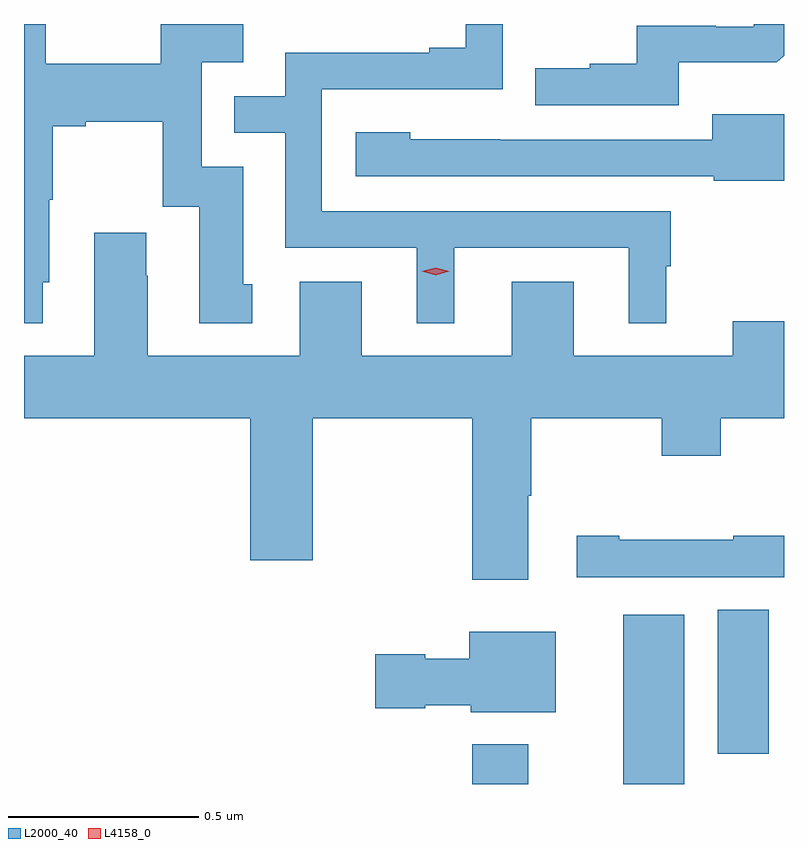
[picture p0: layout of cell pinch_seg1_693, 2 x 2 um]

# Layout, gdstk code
import gdstk
lib = gdstk.Library(unit=1e-6, precision=1e-09)
def R(c, l, rs):  # rectangles x0, y0, x1, y1
    for r in rs: c.add(gdstk.rectangle(r[:2], r[2:], *l))
def P(c, l, *ps):  # polygons
    for p in ps: c.add(gdstk.Polygon(p, *l))
L2000_40 = (2000, 40)
L4158_0 = (4158, 0)

pinch_seg1_693 = lib.new_cell('pinch_seg1_693')
R(pinch_seg1_693, L2000_40, [(681.076,566.753,681.223,566.857), (681.473,566.753,681.634,567.199), (681.722,566.832,681.856,567.212)])
P(pinch_seg1_693, L2000_40, [(681.619,568.652),(681.877,568.652),(681.896,568.67),(681.896,568.753),(681.816,568.753),(681.816,568.746),(681.716,568.746),(681.716,568.749),(681.509,568.749),(681.509,568.648),(681.385,568.648),(681.385,568.636),(681.241,568.636),(681.241,568.539),(681.619,568.539)],
  [(681.028,568.164),(681.488,568.164),(681.488,567.965),(681.586,567.965),(681.586,568.116),(681.598,568.116),(681.598,568.26),(680.679,568.26),(680.679,568.581),(681.156,568.581),(681.156,568.753),(681.058,568.753),(681.058,568.69),(680.963,568.69),(680.963,568.677),(680.583,568.677),(680.583,568.563),(680.449,568.563),(680.449,568.467),(680.583,568.467),(680.583,568.164),(680.93,568.164),(680.93,567.965),(681.028,567.965)],
  [(679.945,568.074),(679.963,568.074),(679.963,568.291),(679.971,568.291),(679.971,568.484),(680.059,568.484),(680.059,568.496),(680.261,568.496),(680.261,568.272),(680.357,568.272),(680.357,567.966),(680.497,567.966),(680.497,568.068),(680.473,568.068),(680.473,568.377),(680.364,568.377),(680.364,568.653),(680.473,568.653),(680.473,568.753),(680.256,568.753),(680.256,568.648),(679.953,568.648),(679.953,568.753),(679.896,568.753),(679.896,567.965),(679.945,567.965)],
  [(681.896,568.516),(681.707,568.516),(681.707,568.449),(681.149,568.449),(681.149,568.45),(680.913,568.45),(680.913,568.468),(680.769,568.468),(680.769,568.353),(681.711,568.353),(681.711,568.341),(681.896,568.341)],
  [(681.223,567.512),(681.231,567.512),(681.231,567.716),(681.574,567.716),(681.574,567.617),(681.729,567.617),(681.729,567.716),(681.896,567.716),(681.896,567.971),(681.761,567.971),(681.761,567.88),(681.343,567.88),(681.343,568.075),(681.179,568.075),(681.179,567.88),(680.785,567.88),(680.785,568.075),(680.621,568.075),(680.621,567.88),(680.221,567.88),(680.221,568.091),(680.218,568.091),(680.218,568.204),(680.081,568.204),(680.081,567.88),(679.896,567.88),(679.896,567.716),(680.492,567.716),(680.492,567.342),(680.656,567.342),(680.656,567.716),(681.076,567.716),(681.076,567.291),(681.223,567.291)],
  [(681.896,567.406),(681.763,567.406),(681.763,567.396),(681.463,567.396),(681.463,567.406),(681.351,567.406),(681.351,567.297),(681.896,567.297)],
  [(681.295,567.154),(681.068,567.154),(681.068,567.082),(680.952,567.082),(680.952,567.095),(680.82,567.095),(680.82,566.953),(680.952,566.953),(680.952,566.96),(681.072,566.96),(681.072,566.942),(681.295,566.942)])
P(pinch_seg1_693, L4158_0, [(680.979,568.092),(680.943,568.102),(680.943,568.102),(680.943,568.103),(680.979,568.112),(681.015,568.103),(681.015,568.102),(681.015,568.102)])

lib.write_gds('pinch_seg1_693.gds')
